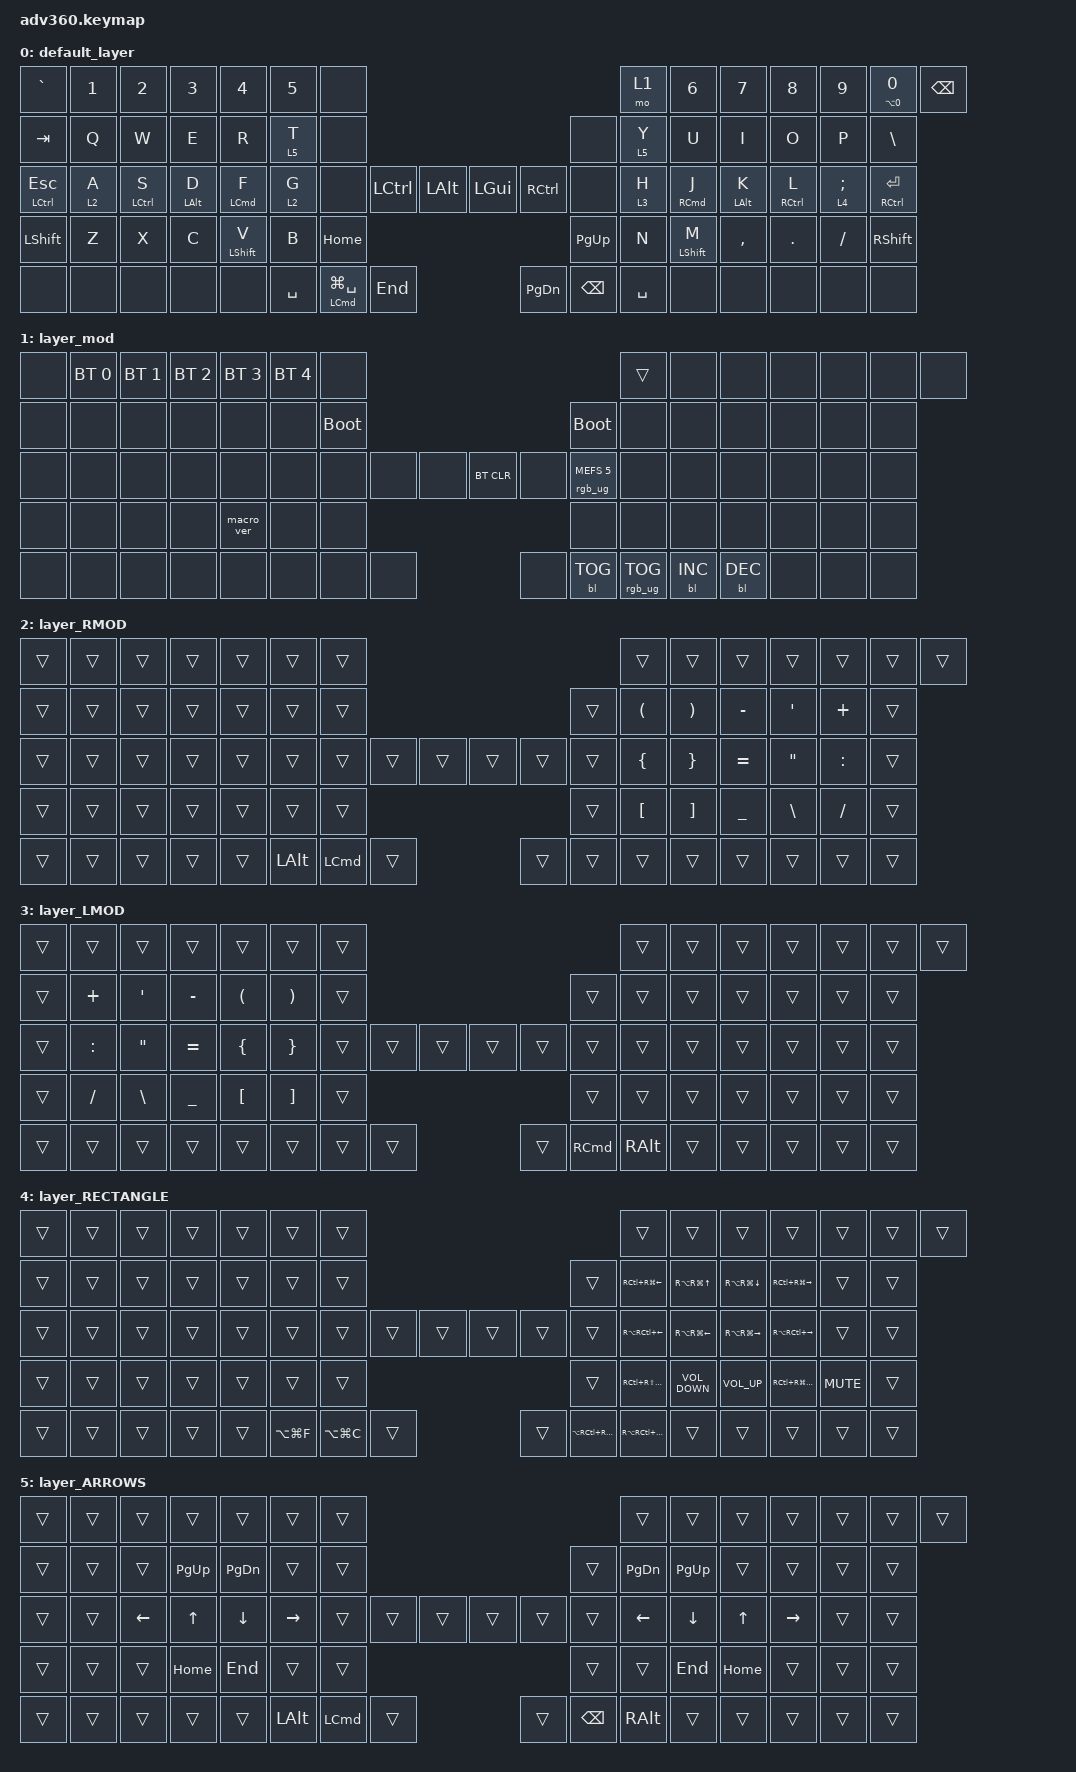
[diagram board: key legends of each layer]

/*
 * Copyright (c) 2020 The ZMK Contributors
 *
 * SPDX-License-Identifier: MIT
 */


/* THIS FILE WAS GENERATED!
 *
 * This file was generated automatically. You may or may not want to
 * edit it directly.
 */

#include <behaviors.dtsi>
#include <dt-bindings/zmk/keys.h>
#include <dt-bindings/zmk/bt.h>
#include <dt-bindings/zmk/rgb.h>
#include <dt-bindings/zmk/backlight.h>

/ {
  behaviors {
    #include "macros.dtsi"
    #include "version.dtsi"

    hm: homerow_mods {
        compatible = "zmk,behavior-hold-tap";
        label = "HOMEROW_MODS";
        #binding-cells = <2>;
        tapping-term-ms = <200>;
        quick_tap_ms = <175>;
        flavor = "tap-preferred";
        bindings = <&kp>, <&kp>;
    };
  };

    keymap {
        compatible = "zmk,keymap";


        default_layer {
            bindings = <
        &kp GRAVE         &kp N1               &kp N2         &kp N3              &kp N4         &kp N5                &none                                                                                      &mo 1   &kp N6               &kp N7          &kp N8               &kp N9    &hm LA(N0) N0            &kp BACKSPACE
          &kp TAB          &kp Q               &kp W           &kp E               &kp R        &lt 5 T                &none                                                                                      &none  &lt 5 Y                &kp U           &kp I                &kp O            &kp P                 &kp BSLH
 &hm LCTRL ESCAPE        &lt 2 A  &hm LEFT_CONTROL S  &hm LEFT_ALT D  &hm LEFT_COMMAND F        &lt 2 G                &none                   &kp LCTRL  &kp LALT                   &kp LGUI      &kp RCTRL      &none  &lt 3 H  &hm RIGHT_COMMAND J  &hm LEFT_ALT K  &hm RIGHT_CONTROL L  &lt 4 SEMICOLON  &hm RIGHT_CONTROL ENTER
        &kp LSHFT          &kp Z               &kp X           &kp C        &hm LSHIFT V          &kp B                                                   &kp HOME                  &kp PG_UP                              &kp N         &hm LSHIFT M       &kp COMMA              &kp DOT         &kp FSLH                &kp RSHFT
            &none          &none               &none           &none               &none                           &kp SPACE  &hm LEFT_COMMAND LG(SPACE)   &kp END                  &kp PG_DN  &kp BACKSPACE  &kp SPACE                         &none           &none                &none            &none                    &none
            >;
        };

        layer_mod {
            bindings = <
  &none  &bt BT_SEL 0  &bt BT_SEL 1  &bt BT_SEL 2  &bt BT_SEL 3  &bt BT_SEL 4                  &none                                                                          &trans   &none       &none       &none   &none   &none   &none
  &none         &none         &none         &none         &none         &none            &bootloader                                                                     &bootloader   &none       &none       &none   &none   &none   &none
  &none         &none         &none         &none         &none         &none                  &none   &none   &none                  &bt BT_CLR       &none  &rgb_ug RGB_MEFS_CMD 5   &none       &none       &none   &none   &none   &none
  &none         &none         &none         &none    &macro_ver         &none                                  &none                       &none                                       &none       &none       &none   &none   &none   &none
  &none         &none         &none         &none         &none                                &none   &none   &none                       &none  &bl BL_TOG         &rgb_ug RGB_TOG          &bl BL_INC  &bl BL_DEC   &none   &none   &none
            >;
        };

        layer_RMOD {
            bindings = <
 &trans  &trans  &trans  &trans  &trans  &trans                  &trans                                                            &trans                &trans                 &trans          &trans             &trans     &trans  &trans
 &trans  &trans  &trans  &trans  &trans  &trans                  &trans                                                            &trans  &kp LEFT_PARENTHESIS  &kp RIGHT_PARENTHESIS       &kp MINUS   &kp SINGLE_QUOTE   &kp PLUS  &trans
 &trans  &trans  &trans  &trans  &trans  &trans                  &trans            &trans  &trans                  &trans  &trans  &trans        &kp LEFT_BRACE        &kp RIGHT_BRACE       &kp EQUAL  &kp DOUBLE_QUOTES  &kp COLON  &trans
 &trans  &trans  &trans  &trans  &trans  &trans                                            &trans                  &trans                      &kp LEFT_BRACKET      &kp RIGHT_BRACKET  &kp UNDERSCORE      &kp BACKSLASH  &kp SLASH  &trans
 &trans  &trans  &trans  &trans  &trans                    &kp LEFT_ALT  &kp LEFT_COMMAND  &trans                  &trans  &trans  &trans                                       &trans          &trans             &trans     &trans  &trans
            >;
        };

        layer_LMOD {
            bindings = <
 &trans     &trans             &trans          &trans                &trans                 &trans            &trans                                                                    &trans  &trans  &trans  &trans  &trans  &trans  &trans
 &trans   &kp PLUS   &kp SINGLE_QUOTE       &kp MINUS  &kp LEFT_PARENTHESIS  &kp RIGHT_PARENTHESIS            &trans                                                                    &trans  &trans  &trans  &trans  &trans  &trans  &trans
 &trans  &kp COLON  &kp DOUBLE_QUOTES       &kp EQUAL        &kp LEFT_BRACE        &kp RIGHT_BRACE            &trans  &trans  &trans                  &trans             &trans         &trans  &trans  &trans  &trans  &trans  &trans  &trans
 &trans  &kp SLASH      &kp BACKSLASH  &kp UNDERSCORE      &kp LEFT_BRACKET      &kp RIGHT_BRACKET                            &trans                  &trans                                    &trans  &trans  &trans  &trans  &trans  &trans
 &trans     &trans             &trans          &trans                &trans                                   &trans  &trans  &trans                  &trans  &kp RIGHT_COMMAND  &kp RIGHT_ALT          &trans  &trans  &trans  &trans  &trans
            >;
        };

        layer_RECTANGLE {
            bindings = <
 &trans  &trans  &trans  &trans  &trans  &trans                   &trans                                                                                                  &trans                      &trans                  &trans                   &trans                       &trans      &trans  &trans
 &trans  &trans  &trans  &trans  &trans  &trans                   &trans                                                                                                  &trans      &kp RC(RG(LEFT_ARROW))    &kp RA(RG(UP_ARROW))   &kp RA(RG(DOWN_ARROW))      &kp RC(RG(RIGHT_ARROW))      &trans  &trans
 &trans  &trans  &trans  &trans  &trans  &trans                   &trans         &trans  &trans                  &trans                      &trans                       &trans      &kp RA(RC(LEFT_ARROW))  &kp RA(RG(LEFT_ARROW))  &kp RA(RG(RIGHT_ARROW))      &kp RA(RC(RIGHT_ARROW))      &trans  &trans
 &trans  &trans  &trans  &trans  &trans  &trans                                          &trans                  &trans                                                           &kp RC(RS(RG(LEFT_ARROW)))       &kp C_VOLUME_DOWN          &kp C_VOLUME_UP  &kp RC(RG(RS(RIGHT_ARROW)))  &kp C_MUTE  &trans
 &trans  &trans  &trans  &trans  &trans                    &kp LA(LG(F))  &kp LA(LG(C))  &trans                  &trans  &kp LA(RC(RG(LEFT_ARROW)))  &kp RA(RC(RG(RIGHT_ARROW)))                                              &trans                   &trans                       &trans      &trans  &trans
            >;
        };

        layer_ARROWS {
            bindings = <
 &trans  &trans          &trans        &trans          &trans           &trans                  &trans                                                                          &trans          &trans          &trans        &trans           &trans  &trans  &trans
 &trans  &trans          &trans   &kp PAGE_UP   &kp PAGE_DOWN           &trans                  &trans                                                                          &trans   &kp PAGE_DOWN     &kp PAGE_UP        &trans           &trans  &trans  &trans
 &trans  &trans  &kp LEFT_ARROW  &kp UP_ARROW  &kp DOWN_ARROW  &kp RIGHT_ARROW                  &trans            &trans  &trans                  &trans         &trans         &trans  &kp LEFT_ARROW  &kp DOWN_ARROW  &kp UP_ARROW  &kp RIGHT_ARROW  &trans  &trans
 &trans  &trans          &trans      &kp HOME         &kp END           &trans                                            &trans                  &trans                                        &trans         &kp END      &kp HOME           &trans  &trans  &trans
 &trans  &trans          &trans        &trans          &trans                             &kp LEFT_ALT  &kp LEFT_COMMAND  &trans                  &trans  &kp BACKSPACE  &kp RIGHT_ALT                          &trans        &trans           &trans  &trans  &trans
            >;
        };

    };
};
